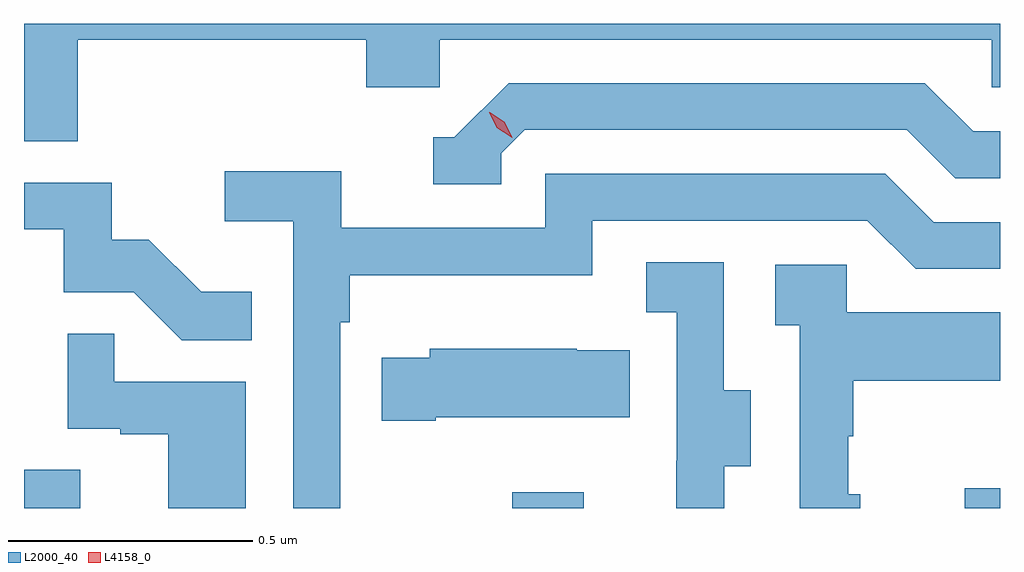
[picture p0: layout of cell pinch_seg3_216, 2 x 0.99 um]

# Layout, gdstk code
import gdstk
lib = gdstk.Library(unit=1e-6, precision=1e-09)
def R(c, l, rs):  # rectangles x0, y0, x1, y1
    for r in rs: c.add(gdstk.rectangle(r[:2], r[2:], *l))
def P(c, l, *ps):  # polygons
    for p in ps: c.add(gdstk.Polygon(p, *l))
L2000_40 = (2000, 40)
L4158_0 = (4158, 0)

pinch_seg3_216 = lib.new_cell('pinch_seg3_216')
R(pinch_seg3_216, L2000_40, [(928.728,747.908,928.843,747.986), (929.728,747.908,929.875,747.94), (930.656,747.908,930.728,747.949)])
P(pinch_seg3_216, L2000_40, [(928.838,748.868),(929.429,748.868),(929.429,748.77),(929.58,748.77),(929.58,748.868),(930.711,748.868),(930.711,748.77),(930.728,748.77),(930.728,748.9),(928.728,748.9),(928.728,748.66),(928.838,748.66)],
  [(929.706,748.635),(929.754,748.683),(930.537,748.683),(930.636,748.584),(930.728,748.584),(930.728,748.68),(930.673,748.68),(930.574,748.779),(929.721,748.779),(929.61,748.668),(929.567,748.668),(929.567,748.572),(929.706,748.572)],
  [(929.376,748.289),(929.396,748.289),(929.396,748.385),(929.892,748.385),(929.892,748.497),(930.456,748.497),(930.555,748.398),(930.728,748.398),(930.728,748.494),(930.592,748.494),(930.493,748.593),(929.796,748.593),(929.796,748.482),(929.378,748.482),(929.378,748.598),(929.139,748.598),(929.139,748.496),(929.28,748.496),(929.28,747.908),(929.376,747.908)],
  [(929.195,748.351),(929.091,748.351),(928.984,748.458),(928.908,748.458),(928.908,748.575),(928.728,748.575),(928.728,748.479),(928.809,748.479),(928.809,748.35),(928.953,748.35),(929.051,748.252),(929.195,748.252)],
  [(930.163,747.994),(930.217,747.994),(930.217,748.149),(930.162,748.149),(930.162,748.412),(930.003,748.412),(930.003,748.309),(930.066,748.309),(930.066,748.005),(930.065,748.005),(930.065,747.908),(930.163,747.908)],
  [(930.442,747.936),(930.417,747.936),(930.417,748.055),(930.427,748.055),(930.427,748.169),(930.728,748.169),(930.728,748.309),(930.414,748.309),(930.414,748.407),(930.267,748.407),(930.267,748.283),(930.318,748.283),(930.318,747.908),(930.442,747.908)],
  [(929.182,748.167),(928.913,748.167),(928.913,748.265),(928.818,748.265),(928.818,748.071),(928.925,748.071),(928.925,748.059),(929.024,748.059),(929.024,747.908),(929.182,747.908)],
  [(929.572,748.094),(929.969,748.094),(929.969,748.231),(929.861,748.231),(929.861,748.234),(929.559,748.234),(929.559,748.216),(929.461,748.216),(929.461,748.087),(929.572,748.087)])
P(pinch_seg3_216, L4158_0, [(929.728,748.667),(929.697,748.687),(929.681,748.719),(929.681,748.719),(929.682,748.719),(929.712,748.7),(929.728,748.668),(929.728,748.667)])

lib.write_gds('pinch_seg3_216.gds')
